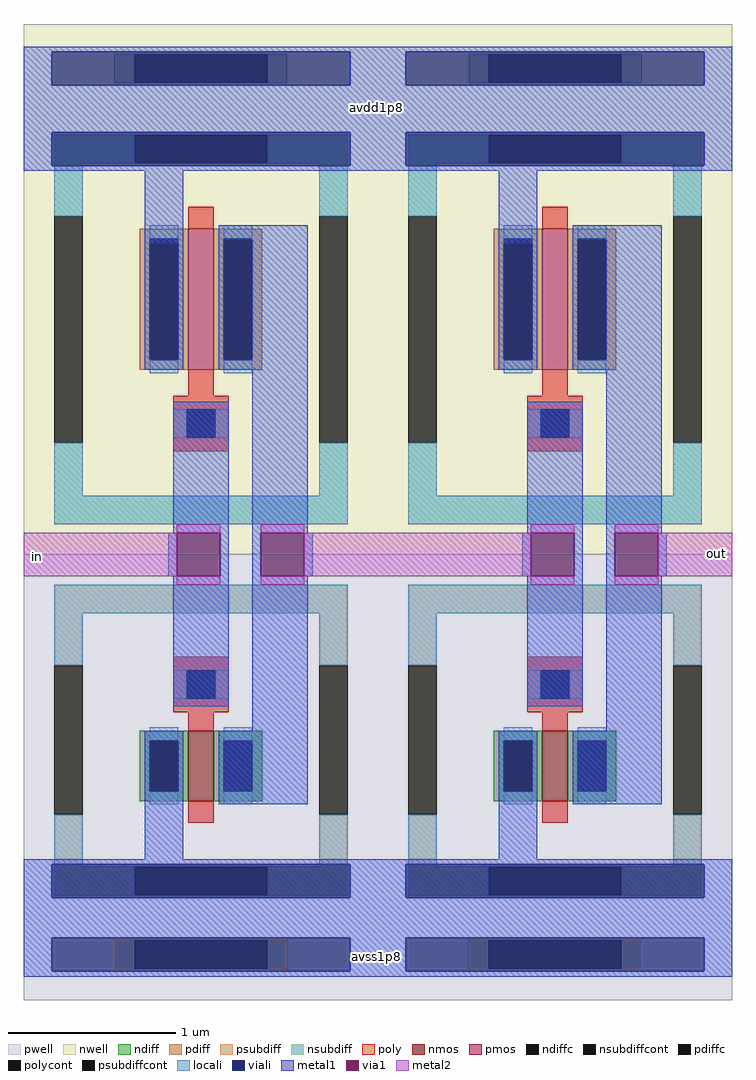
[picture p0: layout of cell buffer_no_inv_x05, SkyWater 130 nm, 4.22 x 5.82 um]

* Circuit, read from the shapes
.subckt buffer_no_inv_x05 avdd1p8 avss1p8 in out
XM1 inverter_min_1/in in avss1p8 avss1p8 sky130_fd_pr__nfet_01v8 w=0.42 l=0.15
XM2 out inverter_min_1/in avss1p8 avss1p8 sky130_fd_pr__nfet_01v8 w=0.42 l=0.15
XM3 inverter_min_1/in in avdd1p8 avdd1p8 sky130_fd_pr__pfet_01v8 w=0.84 l=0.15
XM4 out inverter_min_1/in avdd1p8 avdd1p8 sky130_fd_pr__pfet_01v8 w=0.84 l=0.15
.ends

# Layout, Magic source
magic
tech sky130A
magscale 1 2
<< metal1 >>
rect 418 1060 443 1086
rect 423 119 448 123
rect 420 97 448 119
rect 420 93 445 97
rect 418 49 443 75
<< metal2 >>
rect 14 526 39 552
rect 823 529 848 555
use inverter_min  inverter_min_1
transform 1 0 485 0 1 -6
box -53 16 369 1179
use inverter_min  inverter_min_0
transform 1 0 63 0 1 -6
box -53 16 369 1179
<< labels >>
rlabel metal2 14 526 39 552 1 in
rlabel metal2 823 529 848 555 1 out
rlabel metal1 418 1060 443 1086 1 avdd1p8
rlabel metal1 418 49 443 75 1 avss1p8
<< end >>

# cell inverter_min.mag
magic
tech sky130A
magscale 1 2
<< nwell >>
rect -53 1083 369 1179
<< pwell >>
rect -53 112 355 124
rect -53 16 369 112
<< psubdiff >>
rect 55 53 79 87
rect 237 53 261 87
<< nsubdiff >>
rect 55 1109 79 1143
rect 237 1109 261 1143
<< psubdiffcont >>
rect 79 53 237 87
<< nsubdiffcont >>
rect 79 1109 237 1143
<< viali >>
rect -20 1143 336 1146
rect -20 1109 79 1143
rect 79 1109 237 1143
rect 237 1109 336 1143
rect -20 1106 336 1109
rect -20 1010 336 1050
rect -20 138 336 178
rect -20 87 336 90
rect -20 53 79 87
rect 79 53 237 87
rect 237 53 336 87
rect -20 50 336 53
<< metal1 >>
rect -53 1146 369 1152
rect -53 1106 -20 1146
rect 336 1106 369 1146
rect -53 1050 369 1106
rect -53 1010 -20 1050
rect 336 1010 369 1050
rect -53 1004 369 1010
rect 91 918 137 1004
rect 179 922 285 939
rect 125 573 191 729
rect 119 521 129 573
rect 181 521 191 573
rect 125 366 191 521
rect 219 573 285 922
rect 219 521 229 573
rect 281 521 291 573
rect 219 337 285 521
rect 91 184 137 257
rect 179 249 285 337
rect -53 178 369 184
rect -53 138 -20 178
rect 336 138 369 178
rect -53 90 369 138
rect -53 50 -20 90
rect 336 50 369 90
rect -53 44 369 50
<< via1 >>
rect 129 521 181 573
rect 229 521 281 573
<< metal2 >>
rect 129 573 181 583
rect -53 521 129 573
rect 129 511 181 521
rect 229 573 281 583
rect 281 521 369 573
rect 229 511 281 521
use sky130_fd_pr__nfet_01v8_L78GGD  XM1
transform 1 0 158 0 1 326
box -211 -221 211 221
use sky130_fd_pr__pfet_01v8_6RX2PQ  XM2
transform 1 0 158 0 1 815
box -211 -268 211 268
<< labels >>
rlabel metal1 -53 1050 369 1106 1 vdd
port 1 n
rlabel metal2 -53 521 129 573 1 in
port 3 n
rlabel metal2 281 521 369 573 1 out
port 2 n
rlabel metal1 -53 90 369 138 1 vss
port 4 n
<< end >>

# cell sky130_fd_pr__nfet_01v8_L78GGD: kit device sky130_fd_pr__nfet_01v8, w 0.42 l 0.15 m 1 nf 1 diffcov 100 polycov 100 guard 1 glc 1 grc 1 gtc 0 gbc 1 tbcov 100 rlcov 100 topc 1 botc 0 poverlap 0 doverlap 1 lmin 0.15 wmin 0.42 compatible {sky130_fd_pr__nfet_01v8 sky130_fd_pr__nfet_01v8_lvt sky130_fd_bs_flash__special_sonosfet_star sky130_fd_pr__nfet_g5v0d10v5 sky130_fd_pr__nfet_05v0_nvt sky130_fd_pr__nfet_03v3_nvt} full_metal 1 viasrc 100 viadrn 100 viagate 100 viagb 0 viagr 0 viagl 0 viagt 0

# cell sky130_fd_pr__pfet_01v8_6RX2PQ: kit device sky130_fd_pr__pfet_01v8, w 0.84 l 0.15 m 1 nf 1 diffcov 100 polycov 100 guard 1 glc 1 grc 1 gtc 1 gbc 0 tbcov 100 rlcov 100 topc 0 botc 1 poverlap 0 doverlap 1 lmin 0.15 wmin 0.42 compatible {sky130_fd_pr__pfet_01v8 sky130_fd_pr__pfet_01v8_lvt sky130_fd_pr__pfet_01v8_hvt sky130_fd_pr__pfet_g5v0d10v5} full_metal 1 viasrc 100 viadrn 100 viagate 100 viagb 0 viagr 0 viagl 0 viagt 0
